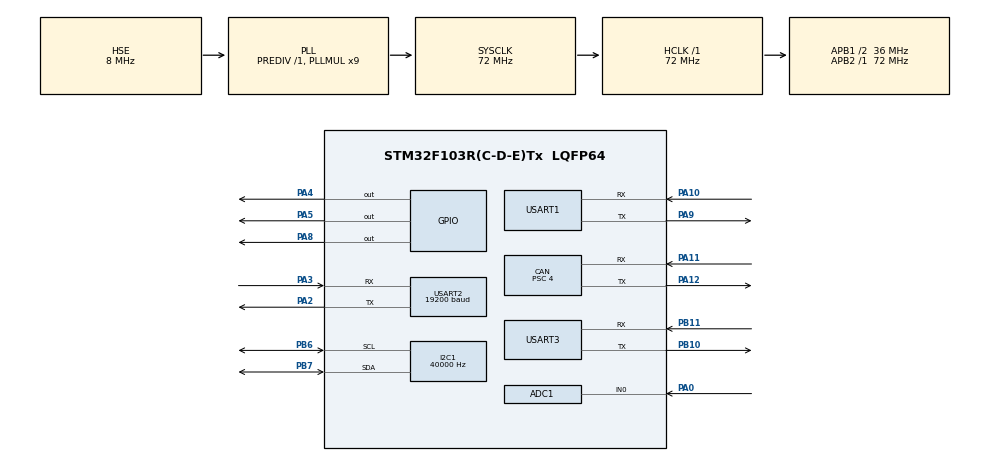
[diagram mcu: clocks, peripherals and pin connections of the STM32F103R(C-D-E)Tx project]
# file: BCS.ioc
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ADC1.Channel-2\#ChannelRegularConversion=ADC_CHANNEL_0
ADC1.NbrOfConversionFlag=1
ADC1.Rank-2\#ChannelRegularConversion=1
ADC1.SamplingTime-2\#ChannelRegularConversion=ADC_SAMPLETIME_1CYCLE_5
ADC1.master=1
CAN.BS1=CAN_BS1_9TQ
CAN.BS2=CAN_BS2_8TQ
CAN.CalculateBaudRate=500000
CAN.CalculateTimeBit=1999.99
CAN.CalculateTimeQuantum=111.11111111111111
CAN.Prescaler=4
FREERTOS.Tasks01=defaultTask,24,128,StartDefaultTask,Default,NULL,Dynamic,NULL,NULL;APPTask,40,128,APPStartTask,Default,NULL,Dynamic,NULL,NULL;UDSTask,40,128,UDSStartTask,Default,NULL,Dynamic,NULL,NULL
I2C1.ClockSpeed=40000
Mcu.Family=STM32F1
Mcu.Name=STM32F103R(C-D-E)Tx
Mcu.Package=LQFP64
NVIC.PriorityGroup=NVIC_PRIORITYGROUP_4
NVIC.TIM1_UP_IRQn=true\:15\:0\:false\:false\:true\:false\:false\:true
NVIC.TIM3_IRQn=true\:5\:0\:false\:false\:true\:true\:true\:true
NVIC.TimeBase=TIM1_UP_IRQn
NVIC.TimeBaseIP=TIM1
NVIC.USART1_IRQn=true\:5\:0\:false\:false\:true\:true\:true\:true
NVIC.USART2_IRQn=true\:5\:0\:false\:false\:true\:true\:true\:true
NVIC.USART3_IRQn=true\:5\:0\:false\:false\:true\:true\:true\:true
NVIC.USB_HP_CAN1_TX_IRQn=true\:5\:0\:false\:false\:true\:true\:true\:true
NVIC.USB_LP_CAN1_RX0_IRQn=true\:5\:0\:false\:false\:true\:true\:true\:true
PA0-WKUP.Signal=ADCx_IN0
PA10.Mode=Asynchronous
PA10.Signal=USART1_RX
PA11.Mode=CAN_Activate
PA11.Signal=CAN_RX
PA12.Mode=CAN_Activate
PA12.Signal=CAN_TX
PA13.Mode=JTAG_4_pins
PA13.Signal=SYS_JTMS-SWDIO
PA14.Mode=JTAG_4_pins
PA14.Signal=SYS_JTCK-SWCLK
PA15.Mode=JTAG_4_pins
PA15.Signal=SYS_JTDI
PA2.Mode=LIN
PA2.Signal=USART2_TX
PA3.Mode=LIN
PA3.Signal=USART2_RX
PA4.Signal=GPIO_Output
PA5.Signal=GPIO_Output
PA8.Signal=GPIO_Output
PA9.Mode=Asynchronous
PA9.Signal=USART1_TX
PB10.Mode=Asynchronous
PB10.Signal=USART3_TX
PB11.Mode=Asynchronous
PB11.Signal=USART3_RX
PB3.Mode=JTAG_4_pins
PB3.Signal=SYS_JTDO-TRACESWO
PB6.Mode=I2C
PB6.Signal=I2C1_SCL
PB7.Mode=I2C
PB7.Signal=I2C1_SDA
PC14-OSC32_IN.Mode=LSE-External-Oscillator
PC14-OSC32_IN.Signal=RCC_OSC32_IN
PC15-OSC32_OUT.Mode=LSE-External-Oscillator
PC15-OSC32_OUT.Signal=RCC_OSC32_OUT
PD0-OSC_IN.Mode=HSE-External-Oscillator
PD0-OSC_IN.Signal=RCC_OSC_IN
PD1-OSC_OUT.Mode=HSE-External-Oscillator
PD1-OSC_OUT.Signal=RCC_OSC_OUT
ProjectManager.HeapSize=0x200
ProjectManager.StackSize=0x400
ProjectManager.TargetToolchain=MDK-ARM V5.32
RCC.ADCPresc=RCC_ADCPCLK2_DIV6
RCC.AHBFreq_Value=72000000
RCC.APB1CLKDivider=RCC_HCLK_DIV2
RCC.APB1Freq_Value=36000000
RCC.APB1TimFreq_Value=72000000
RCC.APB2Freq_Value=72000000
RCC.APB2TimFreq_Value=72000000
RCC.HCLKFreq_Value=72000000
RCC.PLLMUL=RCC_PLL_MUL9
RCC.PLLSourceVirtual=RCC_PLLSOURCE_HSE
RCC.SYSCLKFreq_VALUE=72000000
RCC.SYSCLKSource=RCC_SYSCLKSOURCE_PLLCLK
RCC.USBFreq_Value=72000000
SH.ADCx_IN0.0=ADC1_IN0,IN0
USART1.VirtualMode=VM_ASYNC
USART2.BaudRate=19200
USART2.VirtualMode=VM_ASYNC
USART3.VirtualMode=VM_ASYNC
VP_FREERTOS_VS_CMSIS_V2.Mode=CMSIS_V2
VP_SYS_VS_tim1.Mode=TIM1
VP_TIM3_VS_ClockSourceINT.Mode=Internal
board=custom

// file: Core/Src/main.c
/* USER CODE BEGIN Header */
/**
  ******************************************************************************
  * @file           : main.c
  * @brief          : Main program body
  ******************************************************************************
  * @attention
  *
  * <h2><center>&copy; Copyright (c) 2021 STMicroelectronics.
  * All rights reserved.</center></h2>
  *
  * This software component is licensed by ST under Ultimate Liberty license
  * SLA0044, the "License"; You may not use this file except in compliance with
  * the License. You may obtain a copy of the License at:
  *                             www.st.com/SLA0044
  *
  ******************************************************************************
  */
/* USER CODE END Header */
#include "main.h"
#include "cmsis_os.h"

ADC_HandleTypeDef hadc1;

CAN_HandleTypeDef hcan;

I2C_HandleTypeDef hi2c1;

TIM_HandleTypeDef htim3;

UART_HandleTypeDef huart1;
UART_HandleTypeDef huart2;
UART_HandleTypeDef huart3;

/* Definitions for AlarmTask */
osThreadId_t AlarmTaskHandle;
const osThreadAttr_t AlarmTask_attributes = {
  .name = "AlarmTask",
  .stack_size = 128 * 4,
  .priority = (osPriority_t) osPriorityNormal,
};
/* Definitions for APPTask */
osThreadId_t APPTaskHandle;
const osThreadAttr_t APPTask_attributes = {
  .name = "APPTask",
  .stack_size = 128 * 4,
  .priority = (osPriority_t) osPriorityHigh,
};
/* Definitions for UDSTask */
osThreadId_t UDSTaskHandle;
const osThreadAttr_t UDSTask_attributes = {
  .name = "UDSTask",
  .stack_size = 128 * 4,
  .priority = (osPriority_t) osPriorityHigh,
};

void SystemClock_Config(void);
static void MX_GPIO_Init(void);
static void MX_ADC1_Init(void);
static void MX_CAN_Init(void);
static void MX_I2C1_Init(void);
static void MX_USART1_UART_Init(void);
static void MX_USART2_UART_Init(void);
static void MX_USART3_UART_Init(void);
static void MX_TIM3_Init(void);
void StartAlarmTask(void *argument);
void APPStartTask(void *argument);
void UDSStartTask(void *argument);

/* USER CODE BEGIN 0 */
CAN_TxHeaderTypeDef Can_Tx;
CAN_RxHeaderTypeDef Can_Rx;
CAN_FilterTypeDef CAN_FilterInitStructure;
#define true 1
#define false 0

/* USER CODE END 0 */

int main(void)
{

  /* MCU Configuration--------------------------------------------------------*/

  /* Reset of all peripherals, Initializes the Flash interface and the Systick. */
  HAL_Init();

  /* Configure the system clock */
  SystemClock_Config();

  /* Initialize all configured peripherals */
  MX_GPIO_Init();
  MX_ADC1_Init();
  MX_CAN_Init();
  MX_I2C1_Init();
  MX_USART1_UART_Init();
  MX_USART2_UART_Init();
  MX_USART3_UART_Init();
  MX_TIM3_Init();
  /* USER CODE BEGIN 2 */
//  HAL_TIM_Base_Start_IT(&htim3);
  HAL_CAN_Start(&hcan);
  HAL_CAN_ActivateNotification(&hcan,CAN_IT_TX_MAILBOX_EMPTY | CAN_IT_RX_FIFO0_MSG_PENDING);
  /* USER CODE END 2 */

  /* Init scheduler */
  osKernelInitialize();

  /* Create the thread(s) */
  /* creation of AlarmTask */
  AlarmTaskHandle = osThreadNew(StartAlarmTask, NULL, &AlarmTask_attributes);

  /* creation of APPTask */
  APPTaskHandle = osThreadNew(APPStartTask, NULL, &APPTask_attributes);

  /* creation of UDSTask */
  UDSTaskHandle = osThreadNew(UDSStartTask, NULL, &UDSTask_attributes);

  /* Start scheduler */
  osKernelStart();

  /* We should never get here as control is now taken by the scheduler */
  /* Infinite loop */
  while (1)
  {

  }
}

void SystemClock_Config(void)
{
  RCC_OscInitTypeDef RCC_OscInitStruct = {0};
  RCC_ClkInitTypeDef RCC_ClkInitStruct = {0};
  RCC_PeriphCLKInitTypeDef PeriphClkInit = {0};

  /** Initializes the RCC Oscillators according to the specified parameters
  * in the RCC_OscInitTypeDef structure.
  */
  RCC_OscInitStruct.OscillatorType = RCC_OSCILLATORTYPE_HSE;
  RCC_OscInitStruct.HSEState = RCC_HSE_ON;
  RCC_OscInitStruct.HSEPredivValue = RCC_HSE_PREDIV_DIV1;
  RCC_OscInitStruct.HSIState = RCC_HSI_ON;
  RCC_OscInitStruct.PLL.PLLState = RCC_PLL_ON;
  RCC_OscInitStruct.PLL.PLLSource = RCC_PLLSOURCE_HSE;
  RCC_OscInitStruct.PLL.PLLMUL = RCC_PLL_MUL9;
  if (HAL_RCC_OscConfig(&RCC_OscInitStruct) != HAL_OK)
  {
    Error_Handler();
  }
  /** Initializes the CPU, AHB and APB buses clocks
  */
  RCC_ClkInitStruct.ClockType = RCC_CLOCKTYPE_HCLK|RCC_CLOCKTYPE_SYSCLK
                              |RCC_CLOCKTYPE_PCLK1|RCC_CLOCKTYPE_PCLK2;
  RCC_ClkInitStruct.SYSCLKSource = RCC_SYSCLKSOURCE_PLLCLK;
  RCC_ClkInitStruct.AHBCLKDivider = RCC_SYSCLK_DIV1;
  RCC_ClkInitStruct.APB1CLKDivider = RCC_HCLK_DIV2;
  RCC_ClkInitStruct.APB2CLKDivider = RCC_HCLK_DIV1;

  if (HAL_RCC_ClockConfig(&RCC_ClkInitStruct, FLASH_LATENCY_2) != HAL_OK)
  {
    Error_Handler();
  }
  PeriphClkInit.PeriphClockSelection = RCC_PERIPHCLK_ADC;
  PeriphClkInit.AdcClockSelection = RCC_ADCPCLK2_DIV6;
  if (HAL_RCCEx_PeriphCLKConfig(&PeriphClkInit) != HAL_OK)
  {
    Error_Handler();
  }
}

static void MX_ADC1_Init(void)
{

  ADC_ChannelConfTypeDef sConfig = {0};

  /** Common config
  */
  hadc1.Instance = ADC1;
  hadc1.Init.ScanConvMode = ADC_SCAN_DISABLE;
  hadc1.Init.ContinuousConvMode = DISABLE;
  hadc1.Init.DiscontinuousConvMode = DISABLE;
  hadc1.Init.ExternalTrigConv = ADC_SOFTWARE_START;
  hadc1.Init.DataAlign = ADC_DATAALIGN_RIGHT;
  hadc1.Init.NbrOfConversion = 1;
  if (HAL_ADC_Init(&hadc1) != HAL_OK)
  {
    Error_Handler();
  }
  /** Configure Regular Channel
  */
  sConfig.Channel = ADC_CHANNEL_0;
  sConfig.Rank = ADC_REGULAR_RANK_1;
  sConfig.SamplingTime = ADC_SAMPLETIME_1CYCLE_5;
  if (HAL_ADC_ConfigChannel(&hadc1, &sConfig) != HAL_OK)
  {
    Error_Handler();
  }

}

static void MX_CAN_Init(void)
{

  hcan.Instance = CAN1;
  hcan.Init.Prescaler = 4;
  hcan.Init.Mode = CAN_MODE_NORMAL;
  hcan.Init.SyncJumpWidth = CAN_SJW_1TQ;
  hcan.Init.TimeSeg1 = CAN_BS1_9TQ;
  hcan.Init.TimeSeg2 = CAN_BS2_8TQ;
  hcan.Init.TimeTriggeredMode = DISABLE;
  hcan.Init.AutoBusOff = DISABLE;
  hcan.Init.AutoWakeUp = ENABLE;
  hcan.Init.AutoRetransmission = DISABLE;
  hcan.Init.ReceiveFifoLocked = DISABLE;
  hcan.Init.TransmitFifoPriority = DISABLE;
  if (HAL_CAN_Init(&hcan) != HAL_OK)
  {
    Error_Handler();
  }
  /* USER CODE BEGIN CAN_Init 2 */
	CAN_FilterInitStructure.FilterActivation = ENABLE;
	CAN_FilterInitStructure.FilterBank = 1;
	CAN_FilterInitStructure.FilterMode = CAN_FILTERMODE_IDMASK;
	CAN_FilterInitStructure.FilterScale = CAN_FILTERSCALE_32BIT;
	CAN_FilterInitStructure.FilterFIFOAssignment = CAN_FILTER_FIFO0;

	CAN_FilterInitStructure.FilterIdHigh =0x0000 ;
	CAN_FilterInitStructure.FilterIdLow = 0x0000;
	CAN_FilterInitStructure.FilterMaskIdHigh = 0x0000;
	CAN_FilterInitStructure.FilterMaskIdLow = 0x0000;

	HAL_CAN_ConfigFilter(&hcan,&CAN_FilterInitStructure);

  /* USER CODE END CAN_Init 2 */

}

static void MX_I2C1_Init(void)
{

  hi2c1.Instance = I2C1;
  hi2c1.Init.ClockSpeed = 40000;
  hi2c1.Init.DutyCycle = I2C_DUTYCYCLE_2;
  hi2c1.Init.OwnAddress1 = 0;
  hi2c1.Init.AddressingMode = I2C_ADDRESSINGMODE_7BIT;
  hi2c1.Init.DualAddressMode = I2C_DUALADDRESS_DISABLE;
  hi2c1.Init.OwnAddress2 = 0;
  hi2c1.Init.GeneralCallMode = I2C_GENERALCALL_DISABLE;
  hi2c1.Init.NoStretchMode = I2C_NOSTRETCH_DISABLE;
  if (HAL_I2C_Init(&hi2c1) != HAL_OK)
  {
    Error_Handler();
  }

}

static void MX_TIM3_Init(void)
{

  TIM_ClockConfigTypeDef sClockSourceConfig = {0};
  TIM_MasterConfigTypeDef sMasterConfig = {0};

  htim3.Instance = TIM3;
  htim3.Init.Prescaler = 199;
  htim3.Init.CounterMode = TIM_COUNTERMODE_UP;
  htim3.Init.Period = 3599;
  htim3.Init.ClockDivision = TIM_CLOCKDIVISION_DIV1;
  htim3.Init.AutoReloadPreload = TIM_AUTORELOAD_PRELOAD_DISABLE;
  if (HAL_TIM_Base_Init(&htim3) != HAL_OK)
  {
    Error_Handler();
  }
  sClockSourceConfig.ClockSource = TIM_CLOCKSOURCE_INTERNAL;
  if (HAL_TIM_ConfigClockSource(&htim3, &sClockSourceConfig) != HAL_OK)
  {
    Error_Handler();
  }
  sMasterConfig.MasterOutputTrigger = TIM_TRGO_RESET;
  sMasterConfig.MasterSlaveMode = TIM_MASTERSLAVEMODE_DISABLE;
  if (HAL_TIMEx_MasterConfigSynchronization(&htim3, &sMasterConfig) != HAL_OK)
  {
    Error_Handler();
  }

}

static void MX_USART1_UART_Init(void)
{

  huart1.Instance = USART1;
  huart1.Init.BaudRate = 115200;
  huart1.Init.WordLength = UART_WORDLENGTH_8B;
  huart1.Init.StopBits = UART_STOPBITS_1;
  huart1.Init.Parity = UART_PARITY_NONE;
  huart1.Init.Mode = UART_MODE_TX_RX;
  huart1.Init.HwFlowCtl = UART_HWCONTROL_NONE;
  huart1.Init.OverSampling = UART_OVERSAMPLING_16;
  if (HAL_UART_Init(&huart1) != HAL_OK)
  {
    Error_Handler();
  }

}

static void MX_USART2_UART_Init(void)
{

  huart2.Instance = USART2;
  huart2.Init.BaudRate = 19200;
  huart2.Init.WordLength = UART_WORDLENGTH_8B;
  huart2.Init.StopBits = UART_STOPBITS_1;
  huart2.Init.Parity = UART_PARITY_NONE;
  huart2.Init.Mode = UART_MODE_TX_RX;
  huart2.Init.HwFlowCtl = UART_HWCONTROL_NONE;
  if (HAL_LIN_Init(&huart2, UART_LINBREAKDETECTLENGTH_10B) != HAL_OK)
  {
    Error_Handler();
  }

}

static void MX_USART3_UART_Init(void)
{

  huart3.Instance = USART3;
  huart3.Init.BaudRate = 115200;
  huart3.Init.WordLength = UART_WORDLENGTH_8B;
  huart3.Init.StopBits = UART_STOPBITS_1;
  huart3.Init.Parity = UART_PARITY_NONE;
  huart3.Init.Mode = UART_MODE_TX_RX;
  huart3.Init.HwFlowCtl = UART_HWCONTROL_NONE;
  huart3.Init.OverSampling = UART_OVERSAMPLING_16;
  if (HAL_UART_Init(&huart3) != HAL_OK)
  {
    Error_Handler();
  }

}

static void MX_GPIO_Init(void)
{
  GPIO_InitTypeDef GPIO_InitStruct = {0};

  /* GPIO Ports Clock Enable */
  __HAL_RCC_GPIOC_CLK_ENABLE();
  __HAL_RCC_GPIOD_CLK_ENABLE();
  __HAL_RCC_GPIOA_CLK_ENABLE();
  __HAL_RCC_GPIOB_CLK_ENABLE();

  /*Configure GPIO pin Output Level */
  HAL_GPIO_WritePin(GPIOA, GPIO_PIN_4|GPIO_PIN_5|GPIO_PIN_8, GPIO_PIN_RESET);

  /*Configure GPIO pins : PA4 PA5 PA8 */
  GPIO_InitStruct.Pin = GPIO_PIN_4|GPIO_PIN_5|GPIO_PIN_8;
  GPIO_InitStruct.Mode = GPIO_MODE_OUTPUT_PP;
  GPIO_InitStruct.Pull = GPIO_NOPULL;
  GPIO_InitStruct.Speed = GPIO_SPEED_FREQ_LOW;
  HAL_GPIO_Init(GPIOA, &GPIO_InitStruct);

}

/* USER CODE BEGIN 4 */
void HAL_CAN_TxMailbox0CompleteCallback(CAN_HandleTypeDef *hcan)
{
	//HAL_GPIO_TogglePin(GPIOA,GPIO_PIN_8);
}

void HAL_CAN_RxFifo0MsgPendingCallback(CAN_HandleTypeDef *hcan)
{
	uint8_t adata[8] = {0};
//	HAL_GPIO_TogglePin(GPIOA,GPIO_PIN_8);
	HAL_CAN_GetRxMessage(hcan,CAN_RX_FIFO0,&Can_Rx,adata);
}

/* USER CODE END 4 */

void StartAlarmTask(void *argument)
{
  /* USER CODE BEGIN 5 */
	uint8_t tdata[8] = {0x00,0x00,0x00,0x00,0x00,0x00,0x00,0x00};
  uint32_t pTxMailbox = 0;
  Can_Tx.StdId = 0x100;
  Can_Tx.ExtId = 0x123;
  Can_Tx.IDE = 0;
  Can_Tx.RTR = 0;
  Can_Tx.DLC = 8;
  /* Infinite loop */
  for(;;)
  {
		osDelay(10);
		if(false == HAL_CAN_IsSleepActive)
		{
			HAL_CAN_AddTxMessage(&hcan,&Can_Tx,tdata,&pTxMailbox);
		}
  }
  /* USER CODE END 5 */
}

void APPStartTask(void *argument)
{
  /* USER CODE BEGIN APPStartTask */
	uint8_t tdata[8] = {0x11,0x22,0x33,0x44,0x55,0x66,0x77,0x88};
  uint32_t pTxMailbox = 0;
  Can_Tx.StdId = 0x150;
  Can_Tx.ExtId = 0x123;
  Can_Tx.IDE = 0;
  Can_Tx.RTR = 0;
  Can_Tx.DLC = 8;
  /* Infinite loop */
  for(;;)
  {
  	osDelay(500);
		HAL_GPIO_TogglePin(GPIOA,GPIO_PIN_8);
		HAL_CAN_AddTxMessage(&hcan,&Can_Tx,tdata,&pTxMailbox);
  }
  /* USER CODE END APPStartTask */
}

void UDSStartTask(void *argument)
{
  /* USER CODE BEGIN UDSStartTask */
	uint8_t can_sleep_en=0 ;
  /* Infinite loop */
  for(;;)
  {
    osDelay(3000);
	if(can_sleep_en != 0)
	{
		can_sleep_en =0;
		HAL_CAN_WakeUp(&hcan);
	}
	else
	{
		can_sleep_en =1;
		HAL_CAN_RequestSleep(&hcan);
	}
	//	HAL_GPIO_TogglePin(GPIOA,GPIO_PIN_8);
  }
  /* USER CODE END UDSStartTask */
}

void HAL_TIM_PeriodElapsedCallback(TIM_HandleTypeDef *htim)
{
  /* USER CODE BEGIN Callback 0 */
  uint8_t tdata[8] = {0x00,0x11,0x22,0x33,0x55,0x55,0x66,0x88};
  uint32_t pTxMailbox = 0;
  Can_Tx.StdId = 0x155;
  Can_Tx.ExtId = 0x123;
  Can_Tx.IDE = 0;
  Can_Tx.RTR = 0;
  Can_Tx.DLC = 8;

  /* USER CODE END Callback 0 */
  if (htim->Instance == TIM1) {
    HAL_IncTick();
  }
  /* USER CODE BEGIN Callback 1 */
  if (htim->Instance == htim3.Instance) {
	HAL_CAN_AddTxMessage(&hcan,&Can_Tx,tdata,&pTxMailbox);
  }

  /* USER CODE END Callback 1 */
}

void Error_Handler(void)
{
  __disable_irq();
  while (1)
  {
  }
}

/************************ (C) COPYRIGHT STMicroelectronics *****END OF FILE****/
